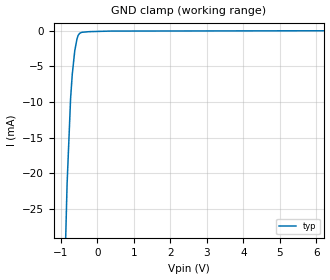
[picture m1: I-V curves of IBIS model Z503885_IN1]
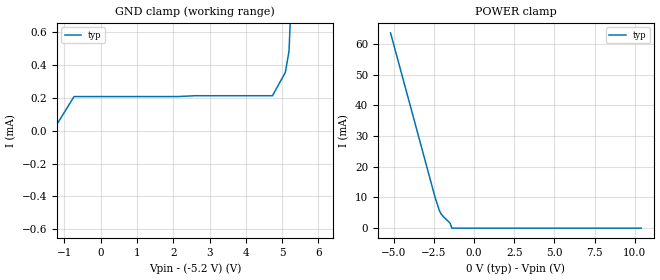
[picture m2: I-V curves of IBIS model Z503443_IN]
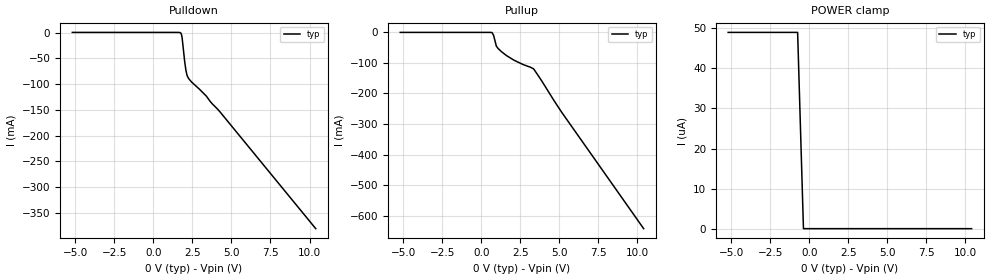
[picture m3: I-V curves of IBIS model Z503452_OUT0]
| YOU ARE ONLY AUTHORIZED TO USE THIS SOFTWARE
| ACCORDING TO LICENSOR'S LICENSE RESTRICTIONS.
[IBIS Ver] 3.1
[File Name] mc100h600fn.ibs
[File Rev] 0.2
[Source] Derived from mc10h645fn.ibs, mc10h116p.ibs and mc10h209p.ibs Measured
and created by ICX Technology
[Date] 3/20/2002
[Copyright]
| (C) COPYRIGHT 1993-2000
| MENTOR GRAPHICS CORPORATION
| ICX STANDARD LIBRARY, ICX PROJECT MODELING,
| ICX CUSTOM MODELING, ICX VENDOR MODEL
| ALL RIGHTS RESERVED.
| THE FOLLOWING ARE TRADEMARKS OR SERVICE MARKS OF
| MENTOR GRAPHICS CORPORATION:ICX (R), ICX STANDARD
| LIBRARY(R), ICX PROJECT MODELING(R), ICX CUSTOM
| MODELING(R), qualityIBIS(TM), MODELVIEWER(TM),
| AND MODELEDITOR(TM)
| ALL COPIES OF SOFTWARE, INCLUDING BUT NOT LIMITED TO
| ANY MODIFICATIONS, ENHANCEMENTS OR DERIVATIVE WORKS,
| MUST CONTAIN ALL MENTOR GRAPHICS CORPORATION'S
| NOTICES AND LEGENDS, INCLUDING THOSE EMBEDDED IN
| SOFTWARE AND THOSE AFFIXED TO SOFTWARE MEDIUM
| AND CONTAINER, AS RECEIVED FROM MENTOR GRAPHICS
| CORPORATION.
|  ZAP Model Builder 2.7
[Component] MC100H600FN
[Manufacturer] OnSemiconductor
[Package]
| variable   typ   min   max
R_pkg  .083ohms NA NA
L_pkg  4.299nH NA NA
C_pkg  1.045pF NA NA
[Pin] signal_name  model_name  R_pin  L_pin C_pin
1 GROUND GND .086 4.583n 1.135p
2 ENTTL Z503885_IN1 .082 4.14n .995p
3 NC NC .086 4.583n 1.135p
4 AIN Z503443_IN .2 2.758n .708p
5 Q8 Z503452_OUT0 .216 5.258n 1.288p
6 Q7 Z503452_OUT0 .216 5.258n 1.288p
7 VCC POWER .08 3.94n .925p
8 Q6 Z503452_OUT0 .216 5.258n 1.288p
9 VEE POWER .08 3.94n .925p
10 Q5 Z503452_OUT0 .216 5.258n 1.288p
11 Q4 Z503452_OUT0 .216 5.258n 1.288p
12 Q3 Z503452_OUT0 .216 5.258n 1.288p
13 VCCO POWER .08 3.94n .925p
14 Q2 Z503452_OUT0 .216 5.258n 1.288p
15 VCCO POWER .08 3.94n .925p
16 VCCE POWER .08 3.94n .925p
17 Q1 Z503452_OUT0 .216 5.258n 1.288p
18 Q0 Z503452_OUT0 .216 5.258n 1.288p
19 D0 Z503885_IN1 .082 4.14n .995p
20 D1 Z503885_IN1 .082 4.14n .995p
21 D2 Z503885_IN1 .082 4.14n .995p
22 D3 Z503885_IN1 .082 4.14n .995p
23 VCCT POWER .08 3.94n .925p
24 D4 Z503885_IN1 .082 4.14n .995p
25 D5 Z503885_IN1 .082 4.14n .995p
26 D6 Z503885_IN1 .082 4.14n .995p
27 D7 Z503885_IN1 .082 4.14n .995p
28 D8 Z503885_IN1 .082 4.14n .995p
| Models and submodels in the file (3): Z503885_IN1 (Input), Z503443_IN (Input_ECL), Z503452_OUT0 (Output_ECL)
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| (C) COPYRIGHT 1993-2000
| MENTOR GRAPHICS CORPORATION
| ICX STANDARD LIBRARY, ICX PROJECT MODELING,
| ICX CUSTOM MODELING, ICX VENDOR MODEL
| ALL RIGHTS RESERVED.
| THE FOLLOWING ARE TRADEMARKS OR SERVICE MARKS OF
| MENTOR GRAPHICS CORPORATION:ICX (R), ICX STANDARD
| LIBRARY(R), ICX PROJECT MODELING(R), ICX CUSTOM
| MODELING(R), qualityIBIS(TM), MODELVIEWER(TM),
| AND MODELEDITOR(TM)
| ALL COPIES OF SOFTWARE, INCLUDING BUT NOT LIMITED TO
| ANY MODIFICATIONS, ENHANCEMENTS OR DERIVATIVE WORKS,
| MUST CONTAIN ALL MENTOR GRAPHICS CORPORATION'S
| NOTICES AND LEGENDS, INCLUDING THOSE EMBEDDED IN
| SOFTWARE AND THOSE AFFIXED TO SOFTWARE MEDIUM
| AND CONTAINER, AS RECEIVED FROM MENTOR GRAPHICS
| CORPORATION.
| Model Application Version 1.89 2/18/99.
[Model] Z503885_IN1
Model_type Input
Vinl = 3.525V
Vinh = 3.835V
C_comp 4.000pF NA NA
| variable typ   min   max
[Voltage Range] 5.000V NA NA
[GND Clamp Reference] 0.000V NA NA
[POWER Clamp Reference] 5.000V NA NA
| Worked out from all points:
|   GND clamp passes 1 mA (typ) near -0.55 V on its own axis
[GND Clamp]
-5V       -851.6mA   NA         NA
-829mV    -21.59mA   NA         NA
-732.4mV  -9.481mA   NA         NA
-687.5mV  -6.154mA   NA         NA
-618.8mV  -2.808mA   NA         NA
-557.4mV  -1.125mA   NA         NA
-524.9mV  -625.1uA   NA         NA
-483.3mV  -346.9uA   NA         NA
-425.4mV  -202.3uA   NA         NA
-212.7mV  -111.5uA   NA         NA
371.1mV   -31.8uA    NA         NA
10V       38.26uA    NA         NA
[POWER Clamp]
-5V       0A         NA         NA
10V       0A         NA         NA
| (C) COPYRIGHT 1993-2000
| MENTOR GRAPHICS CORPORATION
| ICX STANDARD LIBRARY, ICX PROJECT MODELING,
| ICX CUSTOM MODELING, ICX VENDOR MODEL
| ALL RIGHTS RESERVED.
| THE FOLLOWING ARE TRADEMARKS OR SERVICE MARKS OF
| MENTOR GRAPHICS CORPORATION:ICX (R), ICX STANDARD
| LIBRARY(R), ICX PROJECT MODELING(R), ICX CUSTOM
| MODELING(R), qualityIBIS(TM), MODELVIEWER(TM),
| AND MODELEDITOR(TM)
| ALL COPIES OF SOFTWARE, INCLUDING BUT NOT LIMITED TO
| ANY MODIFICATIONS, ENHANCEMENTS OR DERIVATIVE WORKS,
| MUST CONTAIN ALL MENTOR GRAPHICS CORPORATION'S
| NOTICES AND LEGENDS, INCLUDING THOSE EMBEDDED IN
| SOFTWARE AND THOSE AFFIXED TO SOFTWARE MEDIUM
| AND CONTAINER, AS RECEIVED FROM MENTOR GRAPHICS
| CORPORATION.
| Model Application Version 1.89 2/18/99.
[Model] Z503443_IN
Model_type Input_ECL
Vinl = -1.480V
Vinh = -1.130V
C_comp 4.000pF NA NA
| variable typ   min   max
[Voltage Range] -5.200V NA NA
[GND Clamp Reference] -5.200V NA NA
[POWER Clamp Reference] 0.000V NA NA
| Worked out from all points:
|   POWER clamp passes 1 mA (typ) near -1.45 V on its own axis
[GND Clamp]
-5.2V     -1.386mA   NA         NA
-735mV    206.1uA    NA         NA
2.126V    206.1uA    NA         NA
2.602V    211uA      NA         NA
4.733V    211uA      NA         NA
5.088V    352.5uA    NA         NA
5.19V     481.8uA    NA         NA
10.4V     28.84mA    NA         NA
[POWER Clamp]
-5.2V     63.59mA    NA         NA
-2.42V    9.871mA    NA         NA
-2.163V   5.79mA     NA         NA
-2.066V   4.688mA    NA         NA
-1.908V   3.728mA    NA         NA
-1.494V   1.642mA    NA         NA
-1.387V   0A         NA         NA
10.4V     0A         NA         NA
| (C) COPYRIGHT 1993-2000
| MENTOR GRAPHICS CORPORATION
| ICX STANDARD LIBRARY, ICX PROJECT MODELING,
| ICX CUSTOM MODELING, ICX VENDOR MODEL
| ALL RIGHTS RESERVED.
| THE FOLLOWING ARE TRADEMARKS OR SERVICE MARKS OF
| MENTOR GRAPHICS CORPORATION:ICX (R), ICX STANDARD
| LIBRARY(R), ICX PROJECT MODELING(R), ICX CUSTOM
| MODELING(R), qualityIBIS(TM), MODELVIEWER(TM),
| AND MODELEDITOR(TM)
| ALL COPIES OF SOFTWARE, INCLUDING BUT NOT LIMITED TO
| ANY MODIFICATIONS, ENHANCEMENTS OR DERIVATIVE WORKS,
| MUST CONTAIN ALL MENTOR GRAPHICS CORPORATION'S
| NOTICES AND LEGENDS, INCLUDING THOSE EMBEDDED IN
| SOFTWARE AND THOSE AFFIXED TO SOFTWARE MEDIUM
| AND CONTAINER, AS RECEIVED FROM MENTOR GRAPHICS
| CORPORATION.
| Model Application Version 1.89 2/18/99.
[Model] Z503452_OUT0
Model_type Output_ECL
Vref=-2.000V
Rref=50.00ohms
Cref=0.000F
Vmeas=-1.305V
C_comp 8.000pF NA NA
| variable typ   min   max
[Voltage Range] -5.200V NA NA
[POWER Clamp Reference] 0.000V NA NA
[Pullup Reference] 0.000V NA NA
[Pulldown Reference] 0.000V NA NA
[GND Clamp Reference] -5.200V NA NA
[GND Clamp]
-5.2V     0A         NA         NA
10.4V     0A         NA         NA
[Pulldown]
-5.2V     225.1uA    NA         NA
1.743V    -835uA     NA         NA
1.787V    -2.874mA   NA         NA
1.836V    -10mA      NA         NA
2.002V    -56.69mA   NA         NA
2.082V    -73.77mA   NA         NA
2.154V    -83.43mA   NA         NA
2.246V    -88.97mA   NA         NA
3.389V    -123.4mA   NA         NA
3.652V    -134.4mA   NA         NA
4.272V    -154.3mA   NA         NA
10.4V     -380.6mA   NA         NA
[Pullup]
-5.2V     167.3uA    NA         NA
687mV     -723.5uA   NA         NA
780.3mV   -9.181mA   NA         NA
959.4mV   -44.82mA   NA         NA
1.277V    -62.6mA    NA         NA
2.084V    -90.77mA   NA         NA
3.37V     -120.8mA   NA         NA
5.151V    -261.8mA   NA         NA
10.4V     -642.8mA   NA         NA
[POWER Clamp]
-5.2V     49uA       NA         NA
-748mV    49uA       NA         NA
-374mV    0A         NA         NA
10.4V     0A         NA         NA
[Ramp]
| variable typ min max
dV/dt_r 567.4m/869.1p NA NA
dV/dt_f 567.4m/525.8p NA NA
R_load = 50.00Ohms
